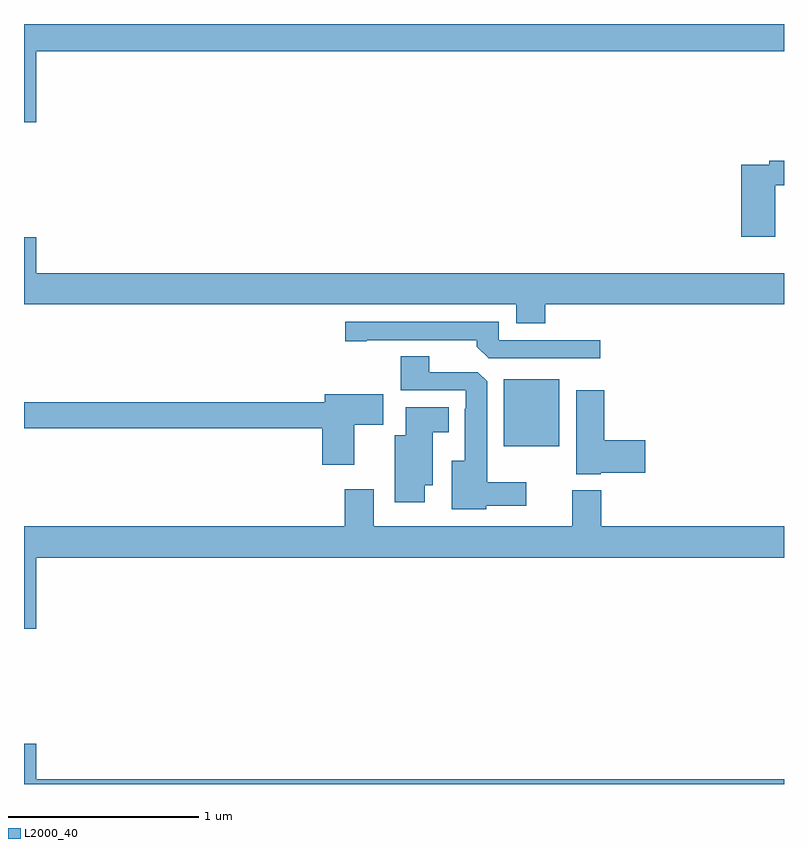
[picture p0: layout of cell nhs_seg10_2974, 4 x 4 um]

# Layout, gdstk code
import gdstk
lib = gdstk.Library(unit=1e-6, precision=1e-09)
def R(c, l, rs):  # rectangles x0, y0, x1, y1
    for r in rs: c.add(gdstk.rectangle(r[:2], r[2:], *l))
def P(c, l, *ps):  # polygons
    for p in ps: c.add(gdstk.Polygon(p, *l))
L2000_40 = (2000, 40)

nhs_seg10_2974 = lib.new_cell('nhs_seg10_2974')
R(nhs_seg10_2974, L2000_40, [(275.525,1258.277,275.818,1258.63)])
P(nhs_seg10_2974, L2000_40, [(273.064,1260.356),(277,1260.356),(277,1260.5),(273,1260.5),(273,1259.982),(273.064,1259.982)],
  [(276.954,1259.652),(277,1259.652),(277,1259.78),(276.922,1259.78),(276.922,1259.76),(276.776,1259.76),(276.776,1259.379),(276.954,1259.379)],
  [(275.744,1259.024),(277,1259.024),(277,1259.188),(273.064,1259.188),(273.064,1259.377),(273,1259.377),(273,1259.024),(275.591,1259.024),(275.591,1258.925),(275.744,1258.925)],
  [(276.034,1258.836),(275.499,1258.836),(275.499,1258.932),(274.692,1258.932),(274.692,1258.831),(274.804,1258.831),(274.804,1258.836),(275.384,1258.836),(275.384,1258.802),(275.445,1258.74),(276.034,1258.74)],
  [(275.433,1257.965),(275.644,1257.965),(275.644,1258.087),(275.437,1258.087),(275.437,1258.619),(275.388,1258.668),(275.134,1258.668),(275.134,1258.751),(274.982,1258.751),(274.982,1258.572),(275.325,1258.572),(275.325,1258.475),(275.321,1258.475),(275.321,1258.201),(275.252,1258.201),(275.252,1257.947),(275.433,1257.947)],
  [(276.036,1258.139),(276.271,1258.139),(276.271,1258.31),(276.053,1258.31),(276.053,1258.573),(275.906,1258.573),(275.906,1258.13),(276.036,1258.13)],
  [(274.738,1258.39),(274.891,1258.39),(274.891,1258.552),(274.583,1258.552),(274.583,1258.508),(273,1258.508),(273,1258.372),(274.571,1258.372),(274.571,1258.179),(274.738,1258.179)],
  [(275.11,1258.073),(275.152,1258.073),(275.152,1258.352),(275.236,1258.352),(275.236,1258.483),(275.009,1258.483),(275.009,1258.336),(274.952,1258.336),(274.952,1257.984),(275.11,1257.984)],
  [(273,1257.318),(273.064,1257.318),(273.064,1257.692),(277,1257.692),(277,1257.856),(276.038,1257.856),(276.038,1258.045),(275.885,1258.045),(275.885,1257.856),(274.84,1257.856),(274.84,1258.051),(274.688,1258.051),(274.688,1257.856),(273,1257.856)],
  [(277,1256.524),(273.064,1256.524),(273.064,1256.713),(273,1256.713),(273,1256.5),(277,1256.5)])

lib.write_gds('nhs_seg10_2974.gds')
